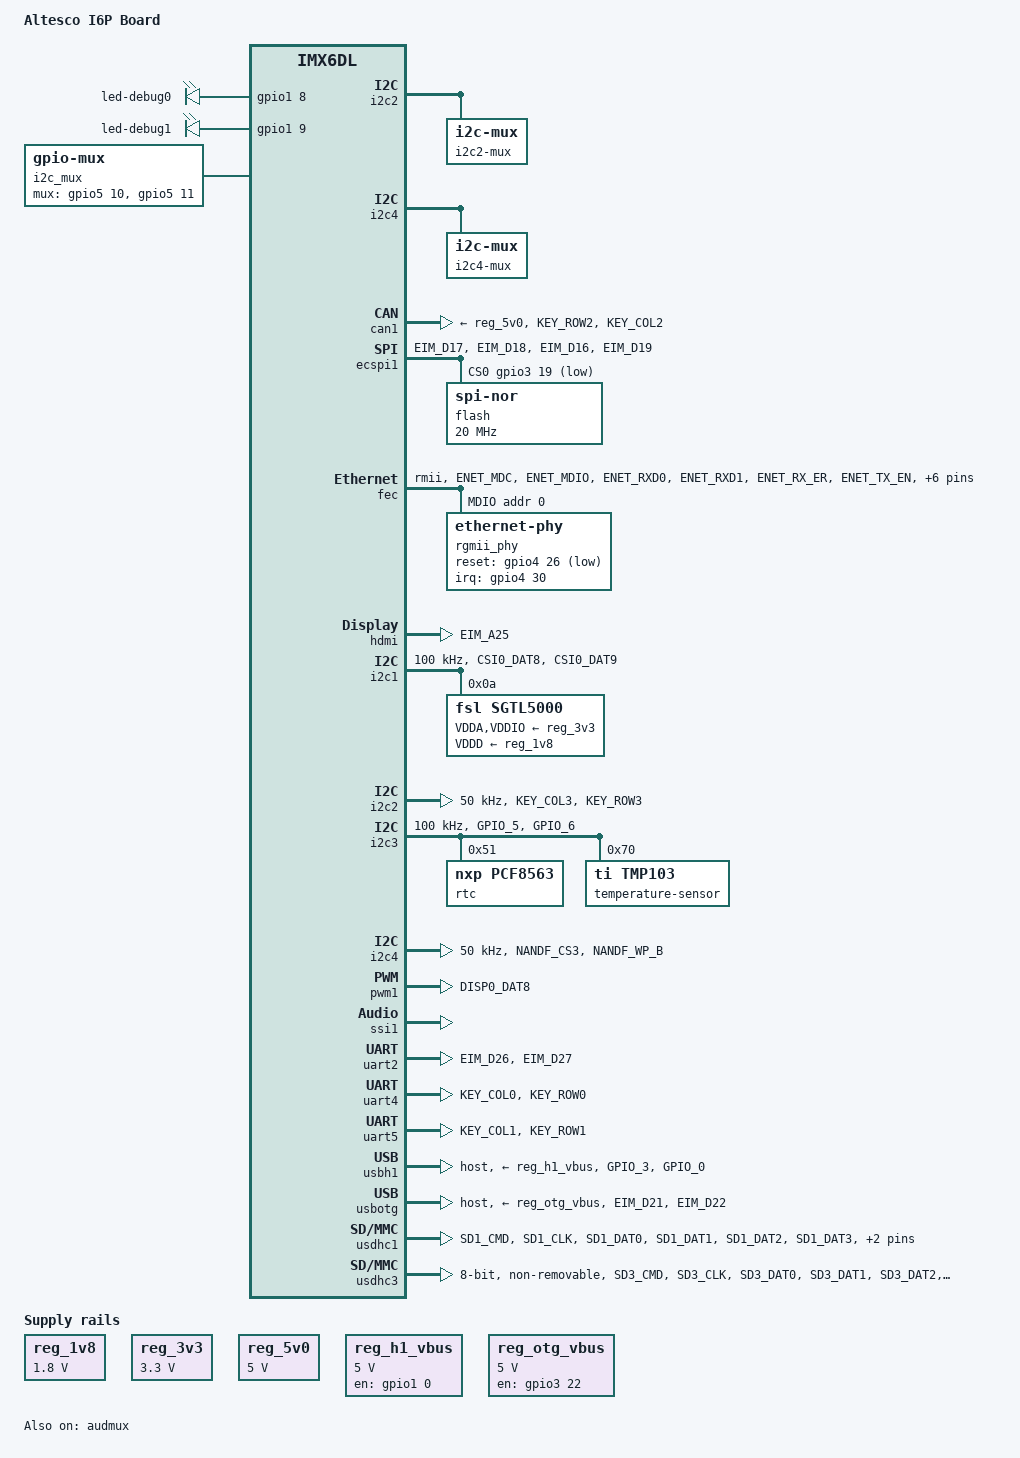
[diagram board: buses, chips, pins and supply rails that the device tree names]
// SPDX-License-Identifier: GPL-2.0-or-later OR MIT
/*
 * Copyright (c) 2016 Protonic Holland
 * Copyright (c) 2020 Oleksij Rempel <kernel@pengutronix.de>, Pengutronix
 */

/dts-v1/;
#include <dt-bindings/gpio/gpio.h>
#include <dt-bindings/leds/common.h>
#include <dt-bindings/sound/fsl-imx-audmux.h>
#include "imx6dl.dtsi"

/ {
	model = "Altesco I6P Board";
	compatible = "alt,alti6p", "fsl,imx6dl";

	chosen {
		stdout-path = &uart4;
	};

	clock_ksz8081: clock-ksz8081 {
		compatible = "fixed-clock";
		#clock-cells = <0>;
		clock-frequency = <50000000>;
		clock-output-names = "enet_ref_pad";
	};

	i2c2-mux {
		compatible = "i2c-mux";
		i2c-parent = <&i2c2>;
		mux-controls = <&i2c_mux>;
		#address-cells = <1>;
		#size-cells = <0>;

		i2c@1 {
			reg = <1>;
			#address-cells = <1>;
			#size-cells = <0>;
		};

		i2c@2 {
			reg = <2>;
			#address-cells = <1>;
			#size-cells = <0>;
		};
	};

	i2c4-mux {
		compatible = "i2c-mux";
		i2c-parent = <&i2c4>;
		mux-controls = <&i2c_mux>;
		#address-cells = <1>;
		#size-cells = <0>;

		i2c@1 {
			reg = <1>;
			#address-cells = <1>;
			#size-cells = <0>;
		};

		i2c@2 {
			reg = <2>;
			#address-cells = <1>;
			#size-cells = <0>;
		};
	};

	leds {
		compatible = "gpio-leds";
		pinctrl-names = "default";
		pinctrl-0 = <&pinctrl_leds>;

		led-debug0 {
			function = LED_FUNCTION_STATUS;
			gpios = <&gpio1 8 GPIO_ACTIVE_HIGH>;
			linux,default-trigger = "heartbeat";
		};

		led-debug1 {
			function = LED_FUNCTION_SD;
			gpios = <&gpio1 9 GPIO_ACTIVE_HIGH>;
			linux,default-trigger = "disk-activity";
		};
	};

	i2c_mux: mux-controller {
		compatible = "gpio-mux";
		#mux-control-cells = <0>;
		pinctrl-names = "default";
		pinctrl-0 = <&pinctrl_i2cmux>;

		mux-gpios = <&gpio5 10 GPIO_ACTIVE_HIGH>,
			    <&gpio5 11 GPIO_ACTIVE_HIGH>;
	};

	reg_1v8: regulator-1v8 {
		compatible = "regulator-fixed";
		regulator-name = "1v8";
		regulator-min-microvolt = <1800000>;
		regulator-max-microvolt = <1800000>;
	};

	reg_3v3: regulator-3v3 {
		compatible = "regulator-fixed";
		regulator-name = "3v3";
		regulator-min-microvolt = <3300000>;
		regulator-max-microvolt = <3300000>;
	};

	reg_5v0: regulator-5v0 {
		compatible = "regulator-fixed";
		regulator-name = "5v0";
		regulator-min-microvolt = <5000000>;
		regulator-max-microvolt = <5000000>;
	};

	reg_h1_vbus: regulator-h1-vbus {
		compatible = "regulator-fixed";
		regulator-name = "h1-vbus";
		regulator-min-microvolt = <5000000>;
		regulator-max-microvolt = <5000000>;
		gpio = <&gpio1 0 GPIO_ACTIVE_HIGH>;
		enable-active-high;
	};

	reg_otg_vbus: regulator-otg-vbus {
		compatible = "regulator-fixed";
		regulator-name = "otg-vbus";
		regulator-min-microvolt = <5000000>;
		regulator-max-microvolt = <5000000>;
		gpio = <&gpio3 22 GPIO_ACTIVE_HIGH>;
		enable-active-high;
	};

	sound {
		compatible = "simple-audio-card";
		simple-audio-card,name = "prti6q-sgtl5000";
		simple-audio-card,format = "i2s";
		simple-audio-card,widgets =
			"Microphone", "Microphone Jack",
			"Line", "Line In Jack",
			"Headphone", "Headphone Jack",
			"Speaker", "External Speaker";
		simple-audio-card,routing =
			"MIC_IN", "Microphone Jack",
			"LINE_IN", "Line In Jack",
			"Headphone Jack", "HP_OUT",
			"External Speaker", "LINE_OUT";

		simple-audio-card,cpu {
			sound-dai = <&ssi1>;
			system-clock-frequency = <0>;
		};

		simple-audio-card,codec {
			sound-dai = <&sgtl5000>;
			bitclock-master;
			frame-master;
		};
	};
};

&audmux {
	pinctrl-names = "default";
	pinctrl-0 = <&pinctrl_audmux>;
	status = "okay";

	mux-ssi1 {
		fsl,audmux-port = <0>;
		fsl,port-config = <
			IMX_AUDMUX_V2_PTCR_SYN		0
			IMX_AUDMUX_V2_PTCR_TFSEL(2)	0
			IMX_AUDMUX_V2_PTCR_TCSEL(2)	0
			IMX_AUDMUX_V2_PTCR_TFSDIR	0
			IMX_AUDMUX_V2_PTCR_TCLKDIR IMX_AUDMUX_V2_PDCR_RXDSEL(2)
		>;
	};

	mux-pins3 {
		fsl,audmux-port = <2>;
		fsl,port-config = <
			IMX_AUDMUX_V2_PTCR_SYN IMX_AUDMUX_V2_PDCR_RXDSEL(0)
			0		       IMX_AUDMUX_V2_PDCR_TXRXEN
		>;
	};
};

&can1 {
	pinctrl-names = "default";
	pinctrl-0 = <&pinctrl_can1>;
	xceiver-supply = <&reg_5v0>;
	status = "okay";
};

&clks {
	clocks = <&clock_ksz8081>;
	clock-names = "enet_ref_pad";
	assigned-clocks = <&clks IMX6QDL_CLK_ENET_REF_SEL>;
	assigned-clock-parents = <&clock_ksz8081>;
};

&ecspi1 {
	cs-gpios = <&gpio3 19 GPIO_ACTIVE_LOW>;
	pinctrl-names = "default";
	pinctrl-0 = <&pinctrl_ecspi1>;
	status = "okay";

	flash@0 {
		compatible = "jedec,spi-nor";
		reg = <0>;
		spi-max-frequency = <20000000>;
	};
};

&fec {
	pinctrl-names = "default";
	pinctrl-0 = <&pinctrl_enet>;
	phy-mode = "rmii";
	status = "okay";

	mdio {
		#address-cells = <1>;
		#size-cells = <0>;

		/* Microchip KSZ8081RNA PHY */
		rgmii_phy: ethernet-phy@0 {
			reg = <0>;
			interrupts-extended = <&gpio4 30 IRQ_TYPE_LEVEL_LOW>;
			reset-gpios = <&gpio4 26 GPIO_ACTIVE_LOW>;
			reset-assert-us = <10000>;
			reset-deassert-us = <300>;
		};
	};
};

&gpio1 {
	gpio-line-names =
		"", "SD1_CD", "", "USB_H1_OC", "", "", "", "",
		"DEBUG_0", "DEBUG_1", "", "", "", "", "", "",
		"", "", "", "", "", "", "", "",
		"", "", "", "", "", "", "", "";
};

&gpio3 {
	gpio-line-names =
		"", "", "", "", "", "", "", "",
		"", "", "", "", "", "", "", "",
		"", "", "", "ECSPI1_SS1", "", "USB_EXT1_OC", "USB_EXT1_PWR", "",
		"", "", "", "", "", "", "", "";
};

&gpio4 {
	gpio-line-names =
		"", "", "", "", "", "", "", "",
		"", "", "", "", "", "", "", "",
		"", "", "", "", "", "", "", "",
		"", "", "ETH_RESET", "", "", "BUZZER", "ETH_INTRP", "";
};

&gpio5 {
	gpio-line-names =
		"", "", "", "", "", "", "", "",
		"", "", "I2C_EN13", "I2C_EN24", "", "", "", "",
		"", "", "", "", "", "AUDIO_RESET", "", "",
		"", "", "", "", "", "", "", "";
};

&hdmi {
	pinctrl-names = "default";
	pinctrl-0 = <&pinctrl_hdmi>;
	ddc-i2c-bus = <&i2c1>;
	status = "okay";
};

/* DDC */
&i2c1 {
	clock-frequency = <100000>;
	pinctrl-names = "default";
	pinctrl-0 = <&pinctrl_i2c1>;
	status = "okay";

	sgtl5000: audio-codec@a {
		compatible = "fsl,sgtl5000";
		reg = <0xa>;
		#sound-dai-cells = <0>;
		clocks = <&clks 201>;
		VDDA-supply = <&reg_3v3>;
		VDDIO-supply = <&reg_3v3>;
		VDDD-supply = <&reg_1v8>;
	};

	/* additional i2c devices are added automatically by the boot loader */
};

&i2c2 {
	clock-frequency = <50000>;
	pinctrl-names = "default";
	pinctrl-0 = <&pinctrl_i2c2>;
	status = "okay";

	/* external interface, device are configured from user space */
};

&i2c3 {
	clock-frequency = <100000>;
	pinctrl-names = "default";
	pinctrl-0 = <&pinctrl_i2c3>;
	status = "okay";

	rtc@51 {
		compatible = "nxp,pcf8563";
		reg = <0x51>;
	};

	temperature-sensor@70 {
		compatible = "ti,tmp103";
		reg = <0x70>;
	};
};

&i2c4 {
	clock-frequency = <50000>;
	pinctrl-names = "default";
	pinctrl-0 = <&pinctrl_i2c4>;
	status = "okay";
};

&pwm1 {
	pinctrl-names = "default";
	pinctrl-0 = <&pinctrl_pwm1>;
	status = "okay";
};

&ssi1 {
	#sound-dai-cells = <0>;
	fsl,mode = "ac97-slave";
	status = "okay";
};

&uart2 {
	pinctrl-names = "default";
	pinctrl-0 = <&pinctrl_uart2>;
	status = "okay";
};

&uart4 {
	pinctrl-names = "default";
	pinctrl-0 = <&pinctrl_uart4>;
	status = "okay";
};

&uart5 {
	pinctrl-names = "default";
	pinctrl-0 = <&pinctrl_uart5>;
	status = "okay";
};

&usbh1 {
	vbus-supply = <&reg_h1_vbus>;
	pinctrl-names = "default";
	pinctrl-0 = <&pinctrl_usbh1>;
	phy_type = "utmi";
	dr_mode = "host";
	over-current-active-low;
	status = "okay";
};

&usbotg {
	vbus-supply = <&reg_otg_vbus>;
	pinctrl-names = "default";
	pinctrl-0 = <&pinctrl_usbotg>;
	phy_type = "utmi";
	dr_mode = "host";
	over-current-active-low;
	status = "okay";
};

&usbphynop1 {
	status = "disabled";
};

&usbphynop2 {
	status = "disabled";
};

&usdhc1 {
	pinctrl-names = "default";
	pinctrl-0 = <&pinctrl_usdhc1>;
	cd-gpios = <&gpio1 1 GPIO_ACTIVE_LOW>;
	no-1-8-v;
	disable-wp;
	cap-sd-highspeed;
	no-mmc;
	no-sdio;
	status = "okay";
};

&usdhc3 {
	pinctrl-names = "default";
	pinctrl-0 = <&pinctrl_usdhc3>;
	bus-width = <8>;
	no-1-8-v;
	non-removable;
	no-sd;
	no-sdio;
	status = "okay";
};

&iomuxc {
	pinctrl_audmux: audmuxgrp {
		fsl,pins = <
			MX6QDL_PAD_CSI0_MCLK__CCM_CLKO1			0x030b0
			MX6QDL_PAD_CSI0_DAT7__AUD3_RXD			0x130b0
			MX6QDL_PAD_CSI0_DAT4__AUD3_TXC			0x130b0
			MX6QDL_PAD_CSI0_DAT5__AUD3_TXD			0x110b0
			MX6QDL_PAD_CSI0_DAT6__AUD3_TXFS			0x130b0
		>;
	};

	pinctrl_can1: can1grp {
		fsl,pins = <
			MX6QDL_PAD_KEY_ROW2__FLEXCAN1_RX		0x1b000
			MX6QDL_PAD_KEY_COL2__FLEXCAN1_TX		0x3008
		>;
	};

	pinctrl_ecspi1: ecspi1grp {
		fsl,pins = <
			MX6QDL_PAD_EIM_D17__ECSPI1_MISO			0x1b000
			MX6QDL_PAD_EIM_D18__ECSPI1_MOSI			0x3008
			MX6QDL_PAD_EIM_D16__ECSPI1_SCLK			0x3008
			/* CS */
			MX6QDL_PAD_EIM_D19__GPIO3_IO19			0x3008
		>;
	};

	pinctrl_enet: enetgrp {
		fsl,pins = <
			/* MX6QDL_ENET_PINGRP4 */
			MX6QDL_PAD_ENET_MDC__ENET_MDC			0x1b0b0
			MX6QDL_PAD_ENET_MDIO__ENET_MDIO			0x1b0b0
			MX6QDL_PAD_ENET_RXD0__ENET_RX_DATA0		0x1b0b0
			MX6QDL_PAD_ENET_RXD1__ENET_RX_DATA1		0x1b0b0
			MX6QDL_PAD_ENET_RX_ER__ENET_RX_ER		0x1b0b0
			MX6QDL_PAD_ENET_TX_EN__ENET_TX_EN		0x1b0b0
			MX6QDL_PAD_ENET_TXD0__ENET_TX_DATA0		0x1b0b0
			MX6QDL_PAD_ENET_TXD1__ENET_TX_DATA1		0x1b0b0
			MX6QDL_PAD_ENET_CRS_DV__ENET_RX_EN		0x1b0b0

			MX6QDL_PAD_GPIO_16__ENET_REF_CLK		0x1b0b0
			/* Phy reset */
			MX6QDL_PAD_DISP0_DAT5__GPIO4_IO26		0x1b0b0
			/* nINTRP */
			MX6QDL_PAD_DISP0_DAT9__GPIO4_IO30		0x1b0b0
		>;
	};

	pinctrl_hdmi: hdmigrp {
		fsl,pins = <
			/* NOTE: DDC is done via I2C2, so DON'T configure DDC
			 * pins for HDMI!
			 */
			MX6QDL_PAD_EIM_A25__HDMI_TX_CEC_LINE		0x1f8b0
		>;
	};

	pinctrl_i2c1: i2c1grp {
		fsl,pins = <
			MX6QDL_PAD_CSI0_DAT8__I2C1_SDA			0x4001f8b1
			MX6QDL_PAD_CSI0_DAT9__I2C1_SCL			0x4001f8b1
		>;
	};

	pinctrl_i2c2: i2c2grp {
		fsl,pins = <
			MX6QDL_PAD_KEY_COL3__I2C2_SCL			0x4001b8b1
			MX6QDL_PAD_KEY_ROW3__I2C2_SDA			0x4001b8b1
		>;
	};

	pinctrl_i2c3: i2c3grp {
		fsl,pins = <
			MX6QDL_PAD_GPIO_5__I2C3_SCL			0x4001b8b1
			MX6QDL_PAD_GPIO_6__I2C3_SDA			0x4001b8b1
		>;
	};

	pinctrl_i2c4: i2c4grp {
		fsl,pins = <
			MX6QDL_PAD_NANDF_CS3__I2C4_SDA			0x4001f8b1
			MX6QDL_PAD_NANDF_WP_B__I2C4_SCL			0x4001f8b1
		>;
	};

	pinctrl_i2cmux: i2cmuxgrp {
		fsl,pins = <
			MX6QDL_PAD_DISP0_DAT16__GPIO5_IO10		0x1b0b0
			MX6QDL_PAD_DISP0_DAT17__GPIO5_IO11		0x1b0b0
		>;
	};

	pinctrl_leds: ledsgrp {
		fsl,pins = <
			MX6QDL_PAD_GPIO_8__GPIO1_IO08			0x1b0b0
			MX6QDL_PAD_GPIO_9__GPIO1_IO09			0x1b0b0
		>;
	};

	pinctrl_pwm1: pwm1grp {
		fsl,pins = <
			MX6QDL_PAD_DISP0_DAT8__PWM1_OUT			0x8
		>;
	};

	pinctrl_uart2: uart2grp {
		fsl,pins = <
			MX6QDL_PAD_EIM_D26__UART2_TX_DATA		0x1b0b1
			MX6QDL_PAD_EIM_D27__UART2_RX_DATA		0x1b0b1
		>;
	};

	pinctrl_uart4: uart4grp {
		fsl,pins = <
			MX6QDL_PAD_KEY_COL0__UART4_TX_DATA		0x1b0b1
			MX6QDL_PAD_KEY_ROW0__UART4_RX_DATA		0x1b0b1
		>;
	};

	pinctrl_uart5: uart5grp {
		fsl,pins = <
			MX6QDL_PAD_KEY_COL1__UART5_TX_DATA		0x1b0b1
			MX6QDL_PAD_KEY_ROW1__UART5_RX_DATA		0x1b0b1
		>;
	};

	pinctrl_usbh1: usbh1grp {
		fsl,pins = <
			MX6QDL_PAD_GPIO_3__USB_H1_OC			0x1B058
			MX6QDL_PAD_GPIO_0__GPIO1_IO00			0x1B058

		>;
	};

	pinctrl_usbotg: usbotggrp {
		fsl,pins = <
			MX6QDL_PAD_EIM_D21__USB_OTG_OC			0x1b0b0
			MX6QDL_PAD_EIM_D22__GPIO3_IO22			0x1b0b0
		>;
	};

	pinctrl_usdhc1: usdhc1grp {
		fsl,pins = <
			MX6QDL_PAD_SD1_CMD__SD1_CMD			0x170f9
			MX6QDL_PAD_SD1_CLK__SD1_CLK			0x100f9
			MX6QDL_PAD_SD1_DAT0__SD1_DATA0			0x170f9
			MX6QDL_PAD_SD1_DAT1__SD1_DATA1			0x170f9
			MX6QDL_PAD_SD1_DAT2__SD1_DATA2			0x170f9
			MX6QDL_PAD_SD1_DAT3__SD1_DATA3			0x170f9
			MX6QDL_PAD_GPIO_1__GPIO1_IO01			0x1b0b0
		>;
	};

	pinctrl_usdhc3: usdhc3grp {
		fsl,pins = <
			MX6QDL_PAD_SD3_CMD__SD3_CMD			0x17099
			MX6QDL_PAD_SD3_CLK__SD3_CLK			0x10099
			MX6QDL_PAD_SD3_DAT0__SD3_DATA0			0x17099
			MX6QDL_PAD_SD3_DAT1__SD3_DATA1			0x17099
			MX6QDL_PAD_SD3_DAT2__SD3_DATA2			0x17099
			MX6QDL_PAD_SD3_DAT3__SD3_DATA3			0x17099
			MX6QDL_PAD_SD3_DAT4__SD3_DATA4			0x17099
			MX6QDL_PAD_SD3_DAT5__SD3_DATA5			0x17099
			MX6QDL_PAD_SD3_DAT6__SD3_DATA6			0x17099
			MX6QDL_PAD_SD3_DAT7__SD3_DATA7			0x17099
			MX6QDL_PAD_SD3_RST__SD3_RESET			0x1b0b1
		>;
	};
};
